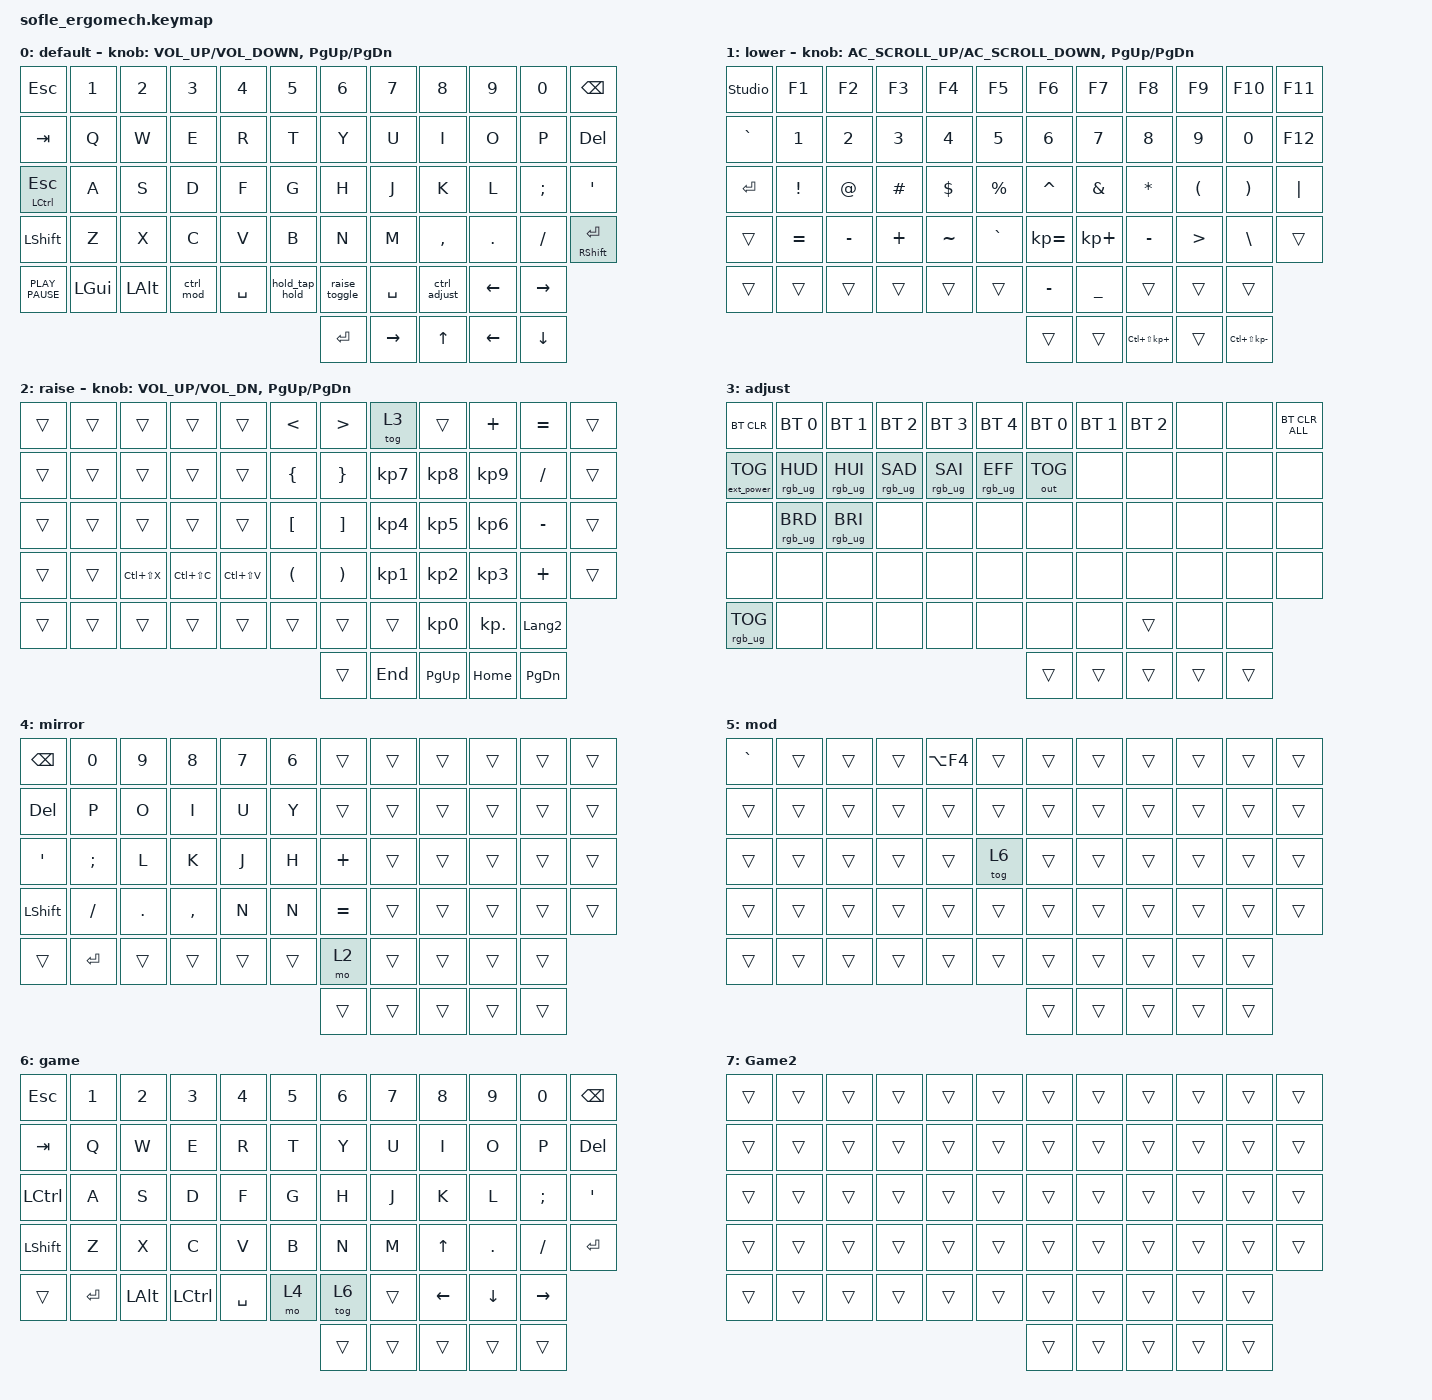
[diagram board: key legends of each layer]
/*
 * Copyright (c) 2020 The ZMK Contributors
 *
 * SPDX-License-Identifier: MIT
 */

#define ZMK_POINTING_DEFAULT_SCRL_VAL 300

#include <behaviors.dtsi>
#include <dt-bindings/zmk/bt.h>
#include <dt-bindings/zmk/ext_power.h>
#include <dt-bindings/zmk/keys.h>
#include <dt-bindings/zmk/outputs.h>
#include <dt-bindings/zmk/pointing.h>
#include <dt-bindings/zmk/rgb.h>

#define BASE 0
#define LOWER 1
#define RAISE 2
#define ADJUST 3

/ {
    // Activate ADJUST layer by pressing raise and lower

    conditional_layers { compatible = "zmk,conditional-layers"; };

    behaviors {
        mousescroll: mousescroll {
            compatible = "zmk,behavior-sensor-rotate";
            #sensor-binding-cells = <0>;
            bindings = <&msc SCRL_UP>, <&msc SCRL_DOWN>;

            tap-ms = <20>;
        };

        hold_tap_hold: hold_tap_hold {
            compatible = "zmk,behavior-tap-dance";
            label = "HOLD_TAP_HOLD";
            #binding-cells = <0>;
            bindings = <&mo 1>, <&mo 4>;
        };

        ctrl_mod: ctrl_mod {
            compatible = "zmk,behavior-tap-dance";
            label = "CTRL_MOD";
            #binding-cells = <0>;
            bindings = <&kp LCTRL>, <&mo 5>;
        };

        ctrl_adjust: ctrl_adjust {
            compatible = "zmk,behavior-tap-dance";
            label = "CTRL_ADJUST";
            #binding-cells = <0>;
            bindings = <&kp LCTRL>, <&mo 3>;
        };

        raise_toggle: raise_toggle {
            compatible = "zmk,behavior-tap-dance";
            label = "RAISE_TOGGLE";
            #binding-cells = <0>;
            bindings = <&mo 2>, <&tog 2>;
        };
    };

    keymap {
        compatible = "zmk,keymap";

        default_layer {
            label = "default";

            // ------------------------------------------------------------------------------------------------------------
            // |   `   |  1  |  2  |  3   |  4   |  5   |                   |  6   |  7    |  8    |  9   |   0   |       |
            // |  ESC  |  Q  |  W  |  E   |  R   |  T   |                   |  Y   |  U    |  I    |  O   |   P   | BKSPC |
            // |  TAB  |  A  |  S  |  D   |  F   |  G   |                   |  H   |  J    |  K    |  L   |   ;   |   '   |
            // | SHIFT |  Z  |  X  |  C   |  V   |  B   |  MUTE  |  |       |  N   |  M    |  ,    |  .   |   /   | SHIFT |
            //               | GUI | ALT  | CTRL | LOWER|  ENTER |  | SPACE | RAISE| CTRL  | ALT   | GUI  |

            bindings = <
&kp ESCAPE        &kp N1    &kp N2    &kp N3     &kp N4     &kp N5          &kp N6         &kp N7     &kp N8        &kp N9          &kp N0     &kp BACKSPACE
&kp TAB           &kp Q     &kp W     &kp E      &kp R      &kp T           &kp Y          &kp U      &kp I         &kp O           &kp P      &kp DELETE
&mt LCTRL ESCAPE  &kp A     &kp S     &kp D      &kp F      &kp G           &kp H          &kp J      &kp K         &kp L           &kp SEMI   &kp SQT
&kp LSHFT         &kp Z     &kp X     &kp C      &kp V      &kp B           &kp N          &kp M      &kp COMMA     &kp DOT         &kp FSLH   &mt RSHFT ENTER
&kp K_PLAY_PAUSE  &kp LGUI  &kp LALT  &ctrl_mod  &kp SPACE  &hold_tap_hold  &raise_toggle  &kp SPACE  &ctrl_adjust  &kp LEFT_ARROW  &kp RIGHT
                                                                            &kp ENTER      &kp RIGHT  &kp UP        &kp LEFT        &kp DOWN
            >;

            sensor-bindings =
                <&inc_dec_kp C_VOLUME_UP K_VOLUME_DOWN>,
                <&inc_dec_kp PG_UP PG_DN>;
        };

        lower_layer {
            label = "lower";

            // TODO: Some binds are waiting for shifted keycode support.
            // ------------------------------------------------------------------------------------------------------------
            // |       |  F1 |  F2 |  F3  |  F4  |  F5  |                   |  F6  |  F7   |  F8   |  F9  |  F10  |  F11  |
            // |   `   |  1  |  2  |  3   |  4   |  5   |                   |  6   |  7    |  8    |  9   |   0   |  F12  |
            // |       |  !  |  @  |  #   |  $   |  %   |                   |  ^   |  &    |  *    |  (   |   )   |   |   |
            // |       |  =  |  -  |  +   |  {   |  }   |        |  |       |  [   |  ]    |  ;    |  :   |   \   |       |
            //               |     |      |      |      |        |  |       |      |       |       |      |

            bindings = <
&studio_unlock  &kp F1     &kp F2     &kp F3    &kp F4     &kp F5     &kp F6        &kp F7       &kp F8               &kp F9            &kp F10               &kp F11
&kp GRAVE       &kp N1     &kp N2     &kp N3    &kp N4     &kp N5     &kp N6        &kp N7       &kp N8               &kp N9            &kp N0                &kp F12
&kp ENTER       &kp EXCL   &kp AT     &kp HASH  &kp DLLR   &kp PRCNT  &kp CARET     &kp AMPS     &kp ASTRK            &kp LPAR          &kp RPAR              &kp PIPE
&trans          &kp EQUAL  &kp MINUS  &kp PLUS  &kp TILDE  &kp GRAVE  &kp KP_EQUAL  &kp KP_PLUS  &kp MINUS            &kp GREATER_THAN  &kp BSLH              &trans
&trans          &trans     &trans     &trans    &trans     &trans     &kp MINUS     &kp UNDER    &trans               &trans            &trans
                                                                      &trans        &trans       &kp LC(LS(KP_PLUS))  &trans            &kp LC(LS(KP_MINUS))
            >;

            sensor-bindings =
                <&inc_dec_kp C_AC_SCROLL_UP C_AC_SCROLL_DOWN>,
                <&inc_dec_kp PG_UP PG_DN>;
        };

        raise_layer {
            label = "raise";

            // ------------------------------------------------------------------------------------------------------------
            // | BTCLR | BT1  | BT2  |  BT3  |  BT4  |  BT5 |                |      |      |       |      |       |       |
            // |       | INS  | PSCR | GUI   |       |      |                | PGUP |      |   ^   |      |       |       |
            // |       | ALT  | CTRL | SHIFT |       | CAPS |                | PGDN |   <- |   v   |  ->  |  DEL  | BKSPC |
            // |       | UNDO | CUT  | COPY  | PASTE |      |      |  |      |      |      |       |      |       |       |
            //                |      |       |       |      |      |  |      |      |      |       |      |

            bindings = <
&trans  &trans  &trans         &trans         &trans         &kp LESS_THAN         &kp GREATER_THAN       &tog 3           &trans           &kp PLUS         &kp EQUAL       &trans
&trans  &trans  &trans         &trans         &trans         &kp LBRC              &kp RBRC               &kp KP_NUMBER_7  &kp KP_NUMBER_8  &kp KP_NUMBER_9  &kp SLASH       &trans
&trans  &trans  &trans         &trans         &trans         &kp LEFT_BRACKET      &kp RIGHT_BRACKET      &kp KP_NUMBER_4  &kp KP_NUMBER_5  &kp KP_NUMBER_6  &kp MINUS       &trans
&trans  &trans  &kp LC(LS(X))  &kp LC(LS(C))  &kp LC(LS(V))  &kp LEFT_PARENTHESIS  &kp RIGHT_PARENTHESIS  &kp KP_NUMBER_1  &kp KP_NUMBER_2  &kp KP_NUMBER_3  &kp PLUS        &trans
&trans  &trans  &trans         &trans         &trans         &trans                &trans                 &trans           &kp KP_NUMBER_0  &kp KP_DOT       &kp LANGUAGE_2
                                                                                   &trans                 &kp END          &kp PG_UP        &kp HOME         &kp PG_DN
            >;

            sensor-bindings = <&inc_dec_kp C_VOL_UP C_VOL_DN &inc_dec_kp PG_UP PG_DN>;
        };

        adjust_layer {
            // ----------------------------------------------------------------------------------------------------------------------------
            // | BTCLR  |  BT1    |  BT2    |   BT3   |   BT4   |   BT5   |                  |      |      |       |      |       |       |
            // | EXTPWR | RGB_HUD | RGB_HUI | RGB_SAD | RGB_SAI | RGB_EFF |                  |      |      |       |      |       |       |
            // |        | RGB_BRD | RGB_BRI |         |         |         |                  |      |      |       |      |       |       |
            // |        |         |         |         |         |         | RGB_TOG | |      |      |      |       |      |       |       |
            //                    |         |         |         |         |         | |      |      |      |       |      |

            label = "adjust";
            bindings = <
&bt BT_CLR         &bt BT_SEL 0     &bt BT_SEL 1     &bt BT_SEL 2     &bt BT_SEL 3     &bt BT_SEL 4     &bt BT_SEL 0  &bt BT_SEL 1  &bt BT_SEL 2  &none   &none   &bt BT_CLR_ALL
&ext_power EP_TOG  &rgb_ug RGB_HUD  &rgb_ug RGB_HUI  &rgb_ug RGB_SAD  &rgb_ug RGB_SAI  &rgb_ug RGB_EFF  &out OUT_TOG  &none         &none         &none   &none   &none
&none              &rgb_ug RGB_BRD  &rgb_ug RGB_BRI  &none            &none            &none            &none         &none         &none         &none   &none   &none
&none              &none            &none            &none            &none            &none            &none         &none         &none         &none   &none   &none
&rgb_ug RGB_TOG    &none            &none            &none            &none            &none            &none         &none         &trans        &none   &none
                                                                                                        &trans        &trans        &trans        &trans  &trans
            >;
        };

        mirror {
            bindings = <
&kp BACKSPACE   &kp N0         &kp N9      &kp N8     &kp N7  &kp NUMBER_6  &trans     &trans  &trans  &trans  &trans  &trans
&kp DELETE      &kp P          &kp O       &kp I      &kp U   &kp Y         &trans     &trans  &trans  &trans  &trans  &trans
&kp SQT         &kp SEMICOLON  &kp L       &kp K      &kp J   &kp H         &kp PLUS   &trans  &trans  &trans  &trans  &trans
&kp LEFT_SHIFT  &kp SLASH      &kp PERIOD  &kp COMMA  &kp N   &kp N         &kp EQUAL  &trans  &trans  &trans  &trans  &trans
&trans          &kp ENTER      &trans      &trans     &trans  &trans        &mo 2      &trans  &trans  &trans  &trans
                                                                            &trans     &trans  &trans  &trans  &trans
            >;

            label = "mirror";
        };

        mod {
            bindings = <
&kp GRAVE  &trans  &trans  &trans  &kp LA(F4)  &trans  &trans  &trans  &trans  &trans  &trans  &trans
&trans     &trans  &trans  &trans  &trans      &trans  &trans  &trans  &trans  &trans  &trans  &trans
&trans     &trans  &trans  &trans  &trans      &tog 6  &trans  &trans  &trans  &trans  &trans  &trans
&trans     &trans  &trans  &trans  &trans      &trans  &trans  &trans  &trans  &trans  &trans  &trans
&trans     &trans  &trans  &trans  &trans      &trans  &trans  &trans  &trans  &trans  &trans
                                                       &trans  &trans  &trans  &trans  &trans
            >;

            label = "mod";
        };

        game {
            bindings = <
&kp ESC    &kp N1   &kp N2    &kp N3     &kp N4     &kp N5  &kp N6  &kp N7  &kp N8    &kp N9    &kp N0     &kp BSPC
&kp TAB    &kp Q    &kp W     &kp E      &kp R      &kp T   &kp Y   &kp U   &kp I     &kp O     &kp P      &kp DEL
&kp LCTRL  &kp A    &kp S     &kp D      &kp F      &kp G   &kp H   &kp J   &kp K     &kp L     &kp SEMI   &kp SQT
&kp LSHFT  &kp Z    &kp X     &kp C      &kp V      &kp B   &kp N   &kp M   &kp UP    &kp DOT   &kp FSLH   &kp RET
&trans     &kp RET  &kp LALT  &kp LCTRL  &kp SPACE  &mo 4   &tog 6  &trans  &kp LEFT  &kp DOWN  &kp RIGHT
                                                            &trans  &trans  &trans    &trans    &trans
            >;
        };

        Game2 {
            bindings = <
&trans  &trans  &trans  &trans  &trans  &trans  &trans  &trans  &trans  &trans  &trans  &trans
&trans  &trans  &trans  &trans  &trans  &trans  &trans  &trans  &trans  &trans  &trans  &trans
&trans  &trans  &trans  &trans  &trans  &trans  &trans  &trans  &trans  &trans  &trans  &trans
&trans  &trans  &trans  &trans  &trans  &trans  &trans  &trans  &trans  &trans  &trans  &trans
&trans  &trans  &trans  &trans  &trans  &trans  &trans  &trans  &trans  &trans  &trans
                                                &trans  &trans  &trans  &trans  &trans
            >;
        };
    };
};
